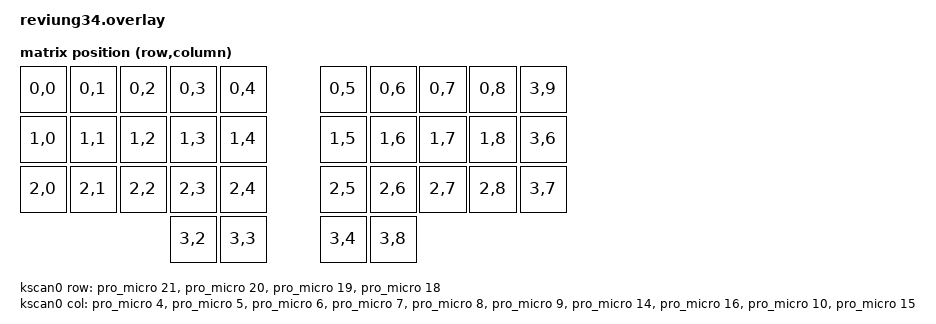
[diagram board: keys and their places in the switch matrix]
/*
 * Copyright (c) 2020 The ZMK Contributors
 *
 * SPDX-License-Identifier: MIT
 */

#include <dt-bindings/zmk/matrix_transform.h>

/ {
    chosen {
        zmk,kscan = &kscan0;
        zmk,matrix_transform = &default_transform;
        zmk,layout = &layout_def;
        zmk,layouts {
            compatible = "zmk,layouts";
            default_layout: default {
                compatible = "zmk,layout";
                revision = <0>;
            };
        };
    };

    default_transform: keymap_transform_0 {
        compatible = "zmk,matrix-transform";
        columns = <10>;
        rows = <4>;

        map = <
RC(0,0) RC(0,1) RC(0,2) RC(0,3) RC(0,4) RC(0,5) RC(0,6) RC(0,7) RC(0,8) RC(3,9)
RC(1,0) RC(1,1) RC(1,2) RC(1,3) RC(1,4) RC(1,5) RC(1,6) RC(1,7) RC(1,8) RC(3,6)
RC(2,0) RC(2,1) RC(2,2) RC(2,3) RC(2,4) RC(2,5) RC(2,6) RC(2,7) RC(2,8) RC(3,7)
                        RC(3,2) RC(3,3) RC(3,4) RC(3,8)
        >;
    };

    layout_def: layout {
        compatible = "zmk,layout";
        label = "Reviung34";
        /*
         * Matrix is indexed by row and represents physical layout from
         * left to right, where -1 represents an empty spot in the matrix
         */
        matrix = <
            0  1  2  3  4  5  6  7  8  39
            10 11 12 13 14 15 16 17 18 36
            20 21 22 23 24 25 26 27 28 37
                       32 33 34 38
        >;

        /* Physical locations for each key, used by configurator for rendering
         * Numbers are specified as decimal values in mm.
         */
        positions = <
            0 0   14 0   28 0   42 0   56 0   70 0    84 0    98 0    112 0  126 0
            0 14  14 14  28 14  42 14  56 14  70 14   84 14   98 14   112 14 126 14
            0 28  14 28  28 28  42 28  56 28  70 28   84 28   98 28   112 28 126 28
                              42 42  56 42  70 42   84 42
        >;

        rows = <4>;
        columns = <10>;
    };

    kscan0: kscan_0 {
        compatible = "zmk,kscan-gpio-matrix";
        label = "KSCAN";
        diode-direction = "col2row";

        col-gpios
            = <&pro_micro 4  GPIO_ACTIVE_HIGH>
            , <&pro_micro 5  GPIO_ACTIVE_HIGH>
            , <&pro_micro 6  GPIO_ACTIVE_HIGH>
            , <&pro_micro 7  GPIO_ACTIVE_HIGH>
            , <&pro_micro 8  GPIO_ACTIVE_HIGH>
            , <&pro_micro 9  GPIO_ACTIVE_HIGH>
            , <&pro_micro 14 GPIO_ACTIVE_HIGH>
            , <&pro_micro 16 GPIO_ACTIVE_HIGH>
            , <&pro_micro 10 GPIO_ACTIVE_HIGH>
            , <&pro_micro 15 GPIO_ACTIVE_HIGH>
            ;

        row-gpios
            = <&pro_micro 21 (GPIO_ACTIVE_HIGH | GPIO_PULL_DOWN)>
            , <&pro_micro 20 (GPIO_ACTIVE_HIGH | GPIO_PULL_DOWN)>
            , <&pro_micro 19 (GPIO_ACTIVE_HIGH | GPIO_PULL_DOWN)>
            , <&pro_micro 18 (GPIO_ACTIVE_HIGH | GPIO_PULL_DOWN)>
            ;
    };
};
